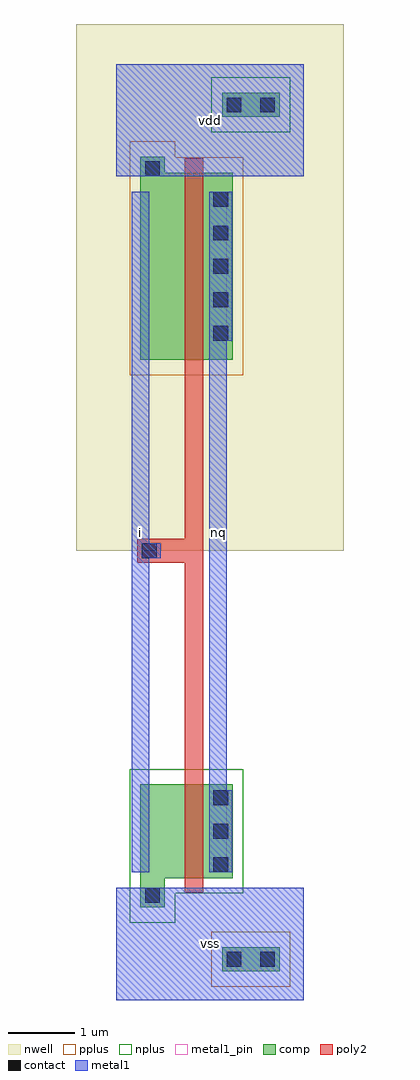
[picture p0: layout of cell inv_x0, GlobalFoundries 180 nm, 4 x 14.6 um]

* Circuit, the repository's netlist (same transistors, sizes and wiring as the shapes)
* inv_x0
.subckt inv_x0 vdd vss i nq
Mn vss i nq vss nfet_03v3 l=0.28um w=1.4um
Mp vdd i nq vdd pfet_03v3 l=0.28um w=2.8um
.ends inv_x0

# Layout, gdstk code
import gdstk
lib = gdstk.Library(unit=1e-6, precision=1e-09)
def R(c, l, rs):  # rectangles x0, y0, x1, y1
    for r in rs: c.add(gdstk.rectangle(r[:2], r[2:], *l))
def A(c, l, x, y, w, h, nx, ny, dx, dy):  # array of equal rectangles
    R(c, l, [(x+i*dx, y+j*dy, x+i*dx+w, y+j*dy+h) for i in range(nx) for j in range(ny)])
def P(c, l, *ps):  # polygons
    for p in ps: c.add(gdstk.Polygon(p, *l))
nwell = (21, 0)
comp = (22, 0)
poly2 = (30, 0)
pplus = (31, 0)
nplus = (32, 0)
contact = (33, 0)
metal1 = (34, 0)
metal1_pin = (34, 10)

inv_x0 = lib.new_cell('inv_x0')
R(inv_x0, nwell, [(-0.6,6.72,3.4,14.6)])
R(inv_x0, comp, [(1.58,0.43,2.44,0.79), (1.58,13.21,2.44,13.57)])
P(inv_x0, comp, [(0.36,1.385),(0.36,3.225),(1.74,3.225),(1.74,1.825),(0.72,1.825),(0.72,1.385)],
  [(0.36,9.575),(0.36,12.615),(0.72,12.615),(0.72,12.375),(1.74,12.375),(1.74,9.575)])
P(inv_x0, poly2, [(1.02,1.605),(1.02,6.54),(0.31,6.54),(0.31,6.9),(1.02,6.9),(1.02,12.595),(1.3,12.595),(1.3,1.605)])
R(inv_x0, pplus, [(1.42,0.2,2.6,1.02)])
P(inv_x0, pplus, [(0.2,9.345),(0.2,12.845),(0.88,12.845),(0.88,12.605),(1.9,12.605),(1.9,9.345)])
R(inv_x0, nplus, [(1.42,12.98,2.6,13.8)])
P(inv_x0, nplus, [(0.2,1.155),(0.2,3.455),(1.9,3.455),(1.9,1.595),(0.88,1.595),(0.88,1.155)])
A(inv_x0, contact, 1.45, 1.915, 0.22, 0.22, 1, 3, 0, 0.5)
A(inv_x0, contact, 1.45, 9.865, 0.22, 0.22, 1, 5, 0, 0.5)
R(inv_x0, contact, [(1.65,0.5,1.87,0.72), (2.15,0.5,2.37,0.72), (0.43,1.455,0.65,1.675), (0.38,6.61,0.6,6.83), (0.43,12.325,0.65,12.545), (1.65,13.28,1.87,13.5), (2.15,13.28,2.37,13.5)])
R(inv_x0, metal1, [(0,0,2.8,1.68), (0,12.32,2.8,14)])
P(inv_x0, metal1, [(0.23,1.91),(0.23,12.09),(0.49,12.09),(0.49,6.835),(0.66,6.835),(0.66,6.605),(0.49,6.605),(0.49,1.91)],
  [(1.39,1.91),(1.39,12.09),(1.73,12.09),(1.73,9.86),(1.65,9.86),(1.65,3.14),(1.73,3.14),(1.73,1.91)])
R(inv_x0, metal1_pin, [(0,0,2.8,1.68), (0.23,1.91,0.49,12.09), (1.39,1.91,1.65,12.09), (0,12.32,2.8,14)])
inv_x0.add(gdstk.Label('i', (0.36,7), layer=34, texttype=10))
inv_x0.add(gdstk.Label('vss', (1.4,0.84), layer=34, texttype=10))
inv_x0.add(gdstk.Label('vdd', (1.4,13.16), layer=34, texttype=10))
inv_x0.add(gdstk.Label('nq', (1.52,7), layer=34, texttype=10))

lib.write_gds('inv_x0.gds')
